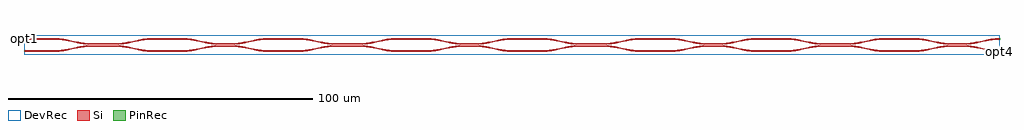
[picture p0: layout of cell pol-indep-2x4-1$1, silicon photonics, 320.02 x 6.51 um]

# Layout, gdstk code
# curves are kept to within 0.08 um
import gdstk
lib = gdstk.Library(unit=1e-6, precision=1e-09)
def R(c, l, rs):  # rectangles x0, y0, x1, y1
    for r in rs: c.add(gdstk.rectangle(r[:2], r[2:], *l))
def P(c, l, *ps):  # polygons
    for p in ps: c.add(gdstk.Polygon(p, *l))
Si = (1, 0)
PinRec = (1, 10)
DevRec = (68, 0)

layer_3_0_phase_sec_3_3_ = lib.new_cell('layer-3_0_phase_sec_3$3$1')
P(layer_3_0_phase_sec_3_3_, Si, [(0,-0.225),(0,0.225),(10,0.225),(10,-0.225)])

layer_3_0_phase_sec_2_3_ = lib.new_cell('layer-3_0_phase_sec_2$3$1')
P(layer_3_0_phase_sec_2_3_, Si, [(3.236,-0.245),(0,-0.225),(0,0.225),(10,0.225),(10,-0.225)])

layer_3_0_phase_sec_1_3_ = lib.new_cell('layer-3_0_phase_sec_1$3$1')
P(layer_3_0_phase_sec_1_3_, Si, [(3.262,-0.262),(0,-0.225),(0,0.225),(10,0.225),(10,-0.225)])

layer_3_0_phase_sec_0_3_ = lib.new_cell('layer-3_0_phase_sec_0$3$1')
P(layer_3_0_phase_sec_0_3_, Si, [(0,-0.225),(0,0.225),(1.611,0.209),(8.054,0.209),(9.665,0.225),(10,0.225),(10,-0.225),(9.665,-0.225),(8.054,-0.209),(1.611,-0.209)])

layer_2_0_phase_sec_3_3_ = lib.new_cell('layer-2_0_phase_sec_3$3$1')
P(layer_2_0_phase_sec_3_3_, Si, [(6.459,-0.24),(0,-0.225),(0,0.225),(10,0.225),(10,-0.225)])

layer_2_0_phase_sec_2_3_ = lib.new_cell('layer-2_0_phase_sec_2$3$1')
P(layer_2_0_phase_sec_2_3_, Si, [(6.449,-0.23),(0,-0.225),(0,0.225),(10,0.225),(10,-0.225)])

layer_2_0_phase_sec_1_3_ = lib.new_cell('layer-2_0_phase_sec_1$3$1')
P(layer_2_0_phase_sec_1_3_, Si, [(6.445,-0.237),(0,-0.225),(0,0.225),(10,0.225),(10,-0.225)])

layer_2_0_phase_sec_0_3_ = lib.new_cell('layer-2_0_phase_sec_0$3$1')
P(layer_2_0_phase_sec_0_3_, Si, [(0,-0.225),(0,0.225),(1.616,0.223),(4.849,0.223),(6.465,0.225),(10,0.225),(10,-0.225),(6.465,-0.225),(4.849,-0.223),(1.616,-0.223)])

layer_1_0_phase_sec_1_3_ = lib.new_cell('layer-1_0_phase_sec_1$3$1')
P(layer_1_0_phase_sec_1_3_, Si, [(3.231,-0.231),(0,-0.225),(0,0.225),(10,0.225),(10,-0.225)])

layer_1_0_phase_sec_3_3_ = lib.new_cell('layer-1_0_phase_sec_3$3$1')
P(layer_1_0_phase_sec_3_3_, Si, [(0,-0.225),(0,0.225),(10,0.225),(10,-0.225)])

layer_1_0_phase_sec_0_3_ = lib.new_cell('layer-1_0_phase_sec_0$3$1')
P(layer_1_0_phase_sec_0_3_, Si, [(6.464,-0.227),(0,-0.225),(0,0.225),(10,0.225),(10,-0.225)])

dc_arm_down_4_3_1 = lib.new_cell('dc_arm_down_4$3$1')
R(dc_arm_down_4_3_1, Si, [(12,-0.55,16,-0.1)])
P(dc_arm_down_4_3_1, Si, [(28,-2.225),(26.861,-2.188),(25.344,-2.033),(18.966,-0.793),(17.481,-0.613),(16,-0.55),(16,-0.1),(17.139,-0.137),(18.656,-0.292),(25.034,-1.532),(26.519,-1.712),(28,-1.775)],
  [(0,-2.225),(0,-1.775),(1.481,-1.712),(2.966,-1.532),(9.344,-0.292),(10.861,-0.137),(12,-0.1),(12,-0.55),(10.519,-0.613),(9.034,-0.793),(2.656,-2.033),(1.139,-2.188)])

dc_arm_up_4_3_1 = lib.new_cell('dc_arm_up_4$3$1')
R(dc_arm_up_4_3_1, Si, [(12,0.1,16,0.55)])
P(dc_arm_up_4_3_1, Si, [(16,0.1),(16,0.55),(17.481,0.613),(18.966,0.793),(25.344,2.033),(26.861,2.188),(28,2.225),(28,1.775),(26.519,1.712),(25.034,1.532),(18.656,0.292),(17.139,0.137)],
  [(12,0.1),(10.861,0.137),(9.344,0.292),(2.966,1.532),(1.481,1.712),(0,1.775),(0,2.225),(1.139,2.188),(2.656,2.033),(9.034,0.793),(10.519,0.613),(12,0.55)])

dc_4_3_1 = lib.new_cell('dc_4$3$1')
dc_4_3_1.add(gdstk.Reference(dc_arm_down_4_3_1, (0,0)))
dc_4_3_1.add(gdstk.Reference(dc_arm_up_4_3_1, (0,0)))

layer_0_0_phase_sec_3_3_ = lib.new_cell('layer-0_0_phase_sec_3$3$1')
P(layer_0_0_phase_sec_3_3_, Si, [(0,-0.225),(0,0.225),(10,0.225),(10,-0.225)])

layer_0_0_phase_sec_2_3_ = lib.new_cell('layer-0_0_phase_sec_2$3$1')
P(layer_0_0_phase_sec_2_3_, Si, [(3.232,-0.237),(0,-0.225),(0,0.225),(10,0.225),(10,-0.225)])

dc_arm_down_8_3_1 = lib.new_cell('dc_arm_down_8$3$1')
R(dc_arm_down_8_3_1, Si, [(12,-0.55,20,-0.1)])
P(dc_arm_down_8_3_1, Si, [(32,-2.225),(30.861,-2.188),(29.344,-2.033),(22.966,-0.793),(21.481,-0.613),(20,-0.55),(20,-0.1),(21.139,-0.137),(22.656,-0.292),(29.034,-1.532),(30.519,-1.712),(32,-1.775)],
  [(0,-2.225),(0,-1.775),(1.481,-1.712),(2.966,-1.532),(9.344,-0.292),(10.861,-0.137),(12,-0.1),(12,-0.55),(10.519,-0.613),(9.034,-0.793),(2.656,-2.033),(1.139,-2.188)])

dc_arm_up_8_3_1 = lib.new_cell('dc_arm_up_8$3$1')
R(dc_arm_up_8_3_1, Si, [(12,0.1,20,0.55)])
P(dc_arm_up_8_3_1, Si, [(20,0.1),(20,0.55),(21.481,0.613),(22.966,0.793),(29.344,2.033),(30.861,2.188),(32,2.225),(32,1.775),(30.519,1.712),(29.034,1.532),(22.656,0.292),(21.139,0.137)],
  [(12,0.1),(10.861,0.137),(9.344,0.292),(2.966,1.532),(1.481,1.712),(0,1.775),(0,2.225),(1.139,2.188),(2.656,2.033),(9.034,0.793),(10.519,0.613),(12,0.55)])

dc_8_3_1 = lib.new_cell('dc_8$3$1')
dc_8_3_1.add(gdstk.Reference(dc_arm_down_8_3_1, (0,0)))
dc_8_3_1.add(gdstk.Reference(dc_arm_up_8_3_1, (0,0)))

layer_0_0_phase_sec_1_3_ = lib.new_cell('layer-0_0_phase_sec_1$3$1')
P(layer_0_0_phase_sec_1_3_, Si, [(0,-0.225),(0,0.225),(3.23,0.223),(6.46,0.223),(9.69,0.225),(10,0.225),(10,-0.225),(9.69,-0.225),(6.46,-0.223),(3.23,-0.223)])

layer_1_0_phase_sec_2_3_ = lib.new_cell('layer-1_0_phase_sec_2$3$1')
P(layer_1_0_phase_sec_2_3_, Si, [(6.537,-0.25),(0,-0.225),(0,0.225),(10,0.225),(10,-0.225)])

layer_0_0_phase_sec_0_3_ = lib.new_cell('layer-0_0_phase_sec_0$3$1')
P(layer_0_0_phase_sec_0_3_, Si, [(0,-0.225),(0,0.225),(3.23,0.223),(6.46,0.223),(9.69,0.225),(10,0.225),(10,-0.225),(9.69,-0.225),(6.46,-0.223),(3.23,-0.223)])

pol_indep_2x4_1_1 = lib.new_cell('pol-indep-2x4-1$1')
R(pol_indep_2x4_1_1, DevRec, [(0,-1,320,5.512)])
pol_indep_2x4_1_1.add(gdstk.FlexPath([(319.99,0.262),(320.01,0.262)], 0.45, ends="flush", simple_path=True, layer=1, datatype=10))  # PinRec
pol_indep_2x4_1_1.add(gdstk.FlexPath([(319.99,4.262),(320.01,4.262)], 0.45, ends="flush", simple_path=True, layer=1, datatype=10))  # PinRec
pol_indep_2x4_1_1.add(gdstk.FlexPath([(0.01,0.262),(-0.01,0.262)], 0.45, ends="flush", simple_path=True, layer=1, datatype=10))  # PinRec
pol_indep_2x4_1_1.add(gdstk.FlexPath([(0.01,4.262),(-0.01,4.262)], 0.45, ends="flush", simple_path=True, layer=1, datatype=10))  # PinRec
pol_indep_2x4_1_1.add(gdstk.Reference(layer_3_0_phase_sec_3_3_, (282,0.262)))
pol_indep_2x4_1_1.add(gdstk.Reference(layer_3_0_phase_sec_2_3_, (282,4.262)))
pol_indep_2x4_1_1.add(gdstk.Reference(layer_3_0_phase_sec_1_3_, (240,0.262)))
pol_indep_2x4_1_1.add(gdstk.Reference(layer_3_0_phase_sec_0_3_, (240,4.262)))
pol_indep_2x4_1_1.add(gdstk.Reference(layer_2_0_phase_sec_3_3_, (202,0.262)))
pol_indep_2x4_1_1.add(gdstk.Reference(layer_2_0_phase_sec_2_3_, (202,4.262)))
pol_indep_2x4_1_1.add(gdstk.Reference(layer_2_0_phase_sec_1_3_, (160,0.262)))
pol_indep_2x4_1_1.add(gdstk.Reference(layer_2_0_phase_sec_0_3_, (160,4.262)))
pol_indep_2x4_1_1.add(gdstk.Reference(layer_1_0_phase_sec_1_3_, (80,0.262)))
pol_indep_2x4_1_1.add(gdstk.Reference(layer_1_0_phase_sec_3_3_, (122,0.262)))
pol_indep_2x4_1_1.add(gdstk.Reference(layer_1_0_phase_sec_0_3_, (80,4.262)))
pol_indep_2x4_1_1.add(gdstk.Reference(dc_4_3_1, (52,2.262)))
pol_indep_2x4_1_1.add(gdstk.Reference(dc_4_3_1, (132,2.262)))
pol_indep_2x4_1_1.add(gdstk.Reference(dc_4_3_1, (212,2.262)))
pol_indep_2x4_1_1.add(gdstk.Reference(dc_4_3_1, (292,2.262)))
pol_indep_2x4_1_1.add(gdstk.Reference(layer_0_0_phase_sec_3_3_, (42,0.262)))
pol_indep_2x4_1_1.add(gdstk.Reference(layer_0_0_phase_sec_2_3_, (42,4.262)))
pol_indep_2x4_1_1.add(gdstk.Reference(dc_8_3_1, (10,2.262)))
pol_indep_2x4_1_1.add(gdstk.Reference(dc_8_3_1, (90,2.262)))
pol_indep_2x4_1_1.add(gdstk.Reference(dc_8_3_1, (170,2.262)))
pol_indep_2x4_1_1.add(gdstk.Reference(dc_8_3_1, (250,2.262)))
pol_indep_2x4_1_1.add(gdstk.Reference(layer_0_0_phase_sec_1_3_, (0,0.262)))
pol_indep_2x4_1_1.add(gdstk.Reference(layer_1_0_phase_sec_2_3_, (122,4.262)))
pol_indep_2x4_1_1.add(gdstk.Reference(layer_0_0_phase_sec_0_3_, (0,4.262)))
pol_indep_2x4_1_1.add(gdstk.Label('opt4', (320,0.262), layer=1, texttype=10))
pol_indep_2x4_1_1.add(gdstk.Label('opt3', (320,4.262), layer=1, texttype=10))
pol_indep_2x4_1_1.add(gdstk.Label('opt1', (0,4.262), layer=1, texttype=10))
pol_indep_2x4_1_1.add(gdstk.Label('opt2', (0,0.262), layer=1, texttype=10))

lib.write_gds('pol-indep-2x4-1_1.gds')
